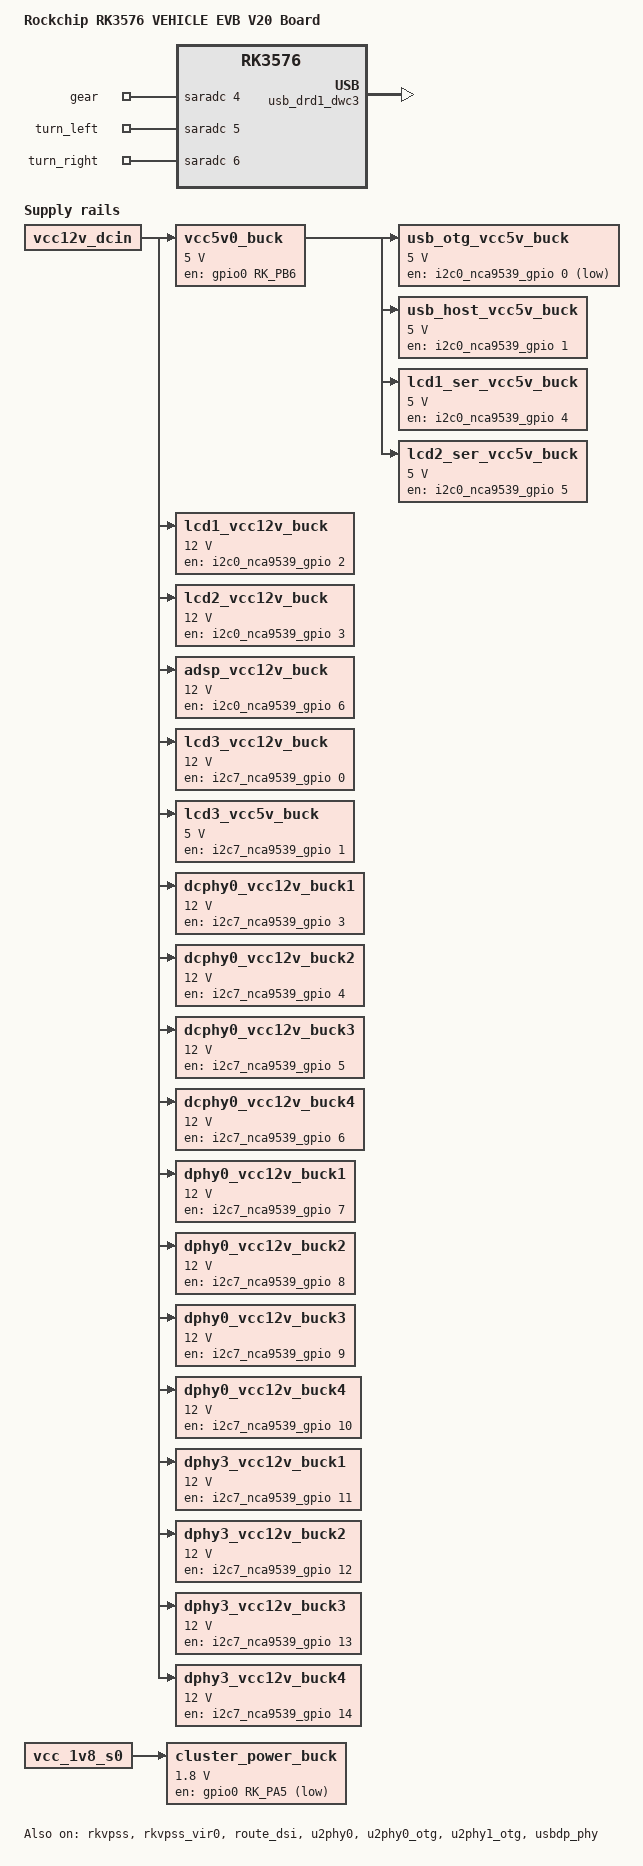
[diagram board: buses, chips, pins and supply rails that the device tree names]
// SPDX-License-Identifier: (GPL-2.0+ OR MIT)
/*
 * Copyright (c) 2024 Rockchip Electronics Co., Ltd.
 *
 */

/dts-v1/;

#include "rk3576.dtsi"
#include "rk3576-vehicle-evb-v20.dtsi"
#include "rk3576-vehicle-evb-v20-nca9539-io-expander.dtsi"
#include "rk3576-vehicle-evb-v20-serdes-mfd-display-maxim.dtsi"
#include "rk3576-vehicle-evb-v20-maxim-max96712-dphy0-isx021.dtsi"
#include "rk3576-vehicle-evb-v20-maxim-max96712-dphy3-sc233at.dtsi"
#include "rk3576-android.dtsi"

/ {
	model = "Rockchip RK3576 VEHICLE EVB V20 Board";
	compatible = "rockchip,rk3576-vehicle-evb-v20", "rockchip,rk3576";

	chosen: chosen {
		bootargs = "earlycon=uart8250,mmio32,0x2ad40000 console=ttyFIQ0 rcupdate.rcu_expedited=1 rcu_nocbs=all spidev.bufsiz=131072";
	};

	vehicle_dummy: vehicle-dummy {
		status = "okay";
		compatible = "rockchip,vehicle-dummy-adc";
		io-channels = <&saradc 4>, <&saradc 5>, <&saradc 6>;
		io-channel-names = "gear", "turn_left", "turn_right";
	};

	vcc5v0_buck: vcc5v0-buck {
		compatible = "regulator-fixed";
		regulator-name = "vcc5v0_buck";
		regulator-boot-on;
		regulator-always-on;
		regulator-min-microvolt = <5000000>;
		regulator-max-microvolt = <5000000>;
		enable-active-high;
		gpio = <&gpio0 RK_PB6 GPIO_ACTIVE_HIGH>;
		vin-supply = <&vcc12v_dcin>;
		pinctrl-names = "default";
		pinctrl-0 = <&vcc5v0_buck_en>;
		startup-delay-us = <2500>;
		off-on-delay-us = <1500>;
		regulator-state-mem {
			regulator-on-in-suspend;
			regulator-suspend-microvolt = <5000000>;
		};
	};

	cluster_power_buck: cluster_power-buck {
		compatible = "regulator-fixed";
		regulator-name = "cluster_power_buck";
		regulator-boot-on;
		regulator-always-on;
		regulator-min-microvolt = <1800000>;
		regulator-max-microvolt = <1800000>;
		//enable-active-high;
		gpio = <&gpio0 RK_PA5 GPIO_ACTIVE_LOW>;
		vin-supply = <&vcc_1v8_s0>;
		pinctrl-names = "default";
		pinctrl-0 = <&cluster_buck_en>;
		regulator-state-mem {
			regulator-off-in-suspend;
			regulator-suspend-microvolt = <1800000>;
		};
	};

	usb_otg_vcc5v_buck: usb_otg_vcc5v-buck {
		compatible = "regulator-fixed";
		regulator-name = "usb_otg_vcc5v_buck";
		regulator-boot-on;
		regulator-always-on;
		regulator-min-microvolt = <5000000>;
		regulator-max-microvolt = <5000000>;
		//enable-active-high;
		gpio = <&i2c0_nca9539_gpio 0 GPIO_ACTIVE_HIGH>;
		vin-supply = <&vcc5v0_buck>;
		regulator-state-mem {
			regulator-off-in-suspend;
			regulator-suspend-microvolt = <5000000>;
		};
	};

	usb_host_vcc5v_buck: usb_host_vcc5v-buck {
		compatible = "regulator-fixed";
		regulator-name = "usb_host_vcc5v_buck";
		//regulator-boot-on;
		//regulator-always-on;
		regulator-min-microvolt = <5000000>;
		regulator-max-microvolt = <5000000>;
		enable-active-high;
		gpio = <&i2c0_nca9539_gpio 1 GPIO_ACTIVE_HIGH>;
		vin-supply = <&vcc5v0_buck>;
		regulator-state-mem {
			regulator-off-in-suspend;
			regulator-suspend-microvolt = <5000000>;
		};
	};

	lcd1_vcc12v_buck: lcd1_vcc12v-buck {
		compatible = "regulator-fixed";
		regulator-name = "lcd1_vcc12v_buck";
		regulator-boot-on;
		regulator-always-on;
		regulator-min-microvolt = <12000000>;
		regulator-max-microvolt = <12000000>;
		enable-active-high;
		gpio = <&i2c0_nca9539_gpio 2 GPIO_ACTIVE_HIGH>;
		vin-supply = <&vcc12v_dcin>;
		regulator-state-mem {
			regulator-off-in-suspend;
			regulator-suspend-microvolt = <12000000>;
		};
	};

	lcd2_vcc12v_buck: lcd2_vcc12v-buck {
		compatible = "regulator-fixed";
		regulator-name = "lcd2_vcc12v_buck";
		regulator-boot-on;
		regulator-always-on;
		regulator-min-microvolt = <12000000>;
		regulator-max-microvolt = <12000000>;
		enable-active-high;
		gpio = <&i2c0_nca9539_gpio 3 GPIO_ACTIVE_HIGH>;
		vin-supply = <&vcc12v_dcin>;
		regulator-state-mem {
			regulator-off-in-suspend;
			regulator-suspend-microvolt = <12000000>;
		};
	};

	lcd1_ser_vcc5v_buck: lcd1_ser_vcc5v-buck {
		compatible = "regulator-fixed";
		regulator-name = "lcd1_ser_vcc5v_buck";
		regulator-boot-on;
		regulator-always-on;
		regulator-min-microvolt = <5000000>;
		regulator-max-microvolt = <5000000>;
		enable-active-high;
		gpio = <&i2c0_nca9539_gpio 4 GPIO_ACTIVE_HIGH>;
		vin-supply = <&vcc5v0_buck>;
		regulator-state-mem {
			regulator-off-in-suspend;
			regulator-suspend-microvolt = <5000000>;
		};
	};

	lcd2_ser_vcc5v_buck: lcd2_ser_vcc5v-buck {
		compatible = "regulator-fixed";
		regulator-name = "lcd2_ser_vcc5v_buck";
		regulator-boot-on;
		regulator-always-on;
		regulator-min-microvolt = <5000000>;
		regulator-max-microvolt = <5000000>;
		enable-active-high;
		gpio = <&i2c0_nca9539_gpio 5 GPIO_ACTIVE_HIGH>;
		vin-supply = <&vcc5v0_buck>;
		regulator-state-mem {
			regulator-off-in-suspend;
			regulator-suspend-microvolt = <5000000>;
		};
	};

	adsp_vcc12v_buck: adsp_vcc12v-buck {
		compatible = "regulator-fixed";
		regulator-name = "adsp_vcc12v_buck";
		regulator-boot-on;
		regulator-always-on;
		regulator-min-microvolt = <12000000>;
		regulator-max-microvolt = <12000000>;
		enable-active-high;
		gpio = <&i2c0_nca9539_gpio 6 GPIO_ACTIVE_HIGH>;
		vin-supply = <&vcc12v_dcin>;
		regulator-state-mem {
			regulator-off-in-suspend;
			regulator-suspend-microvolt = <12000000>;
		};
	};

	lcd3_vcc12v_buck: lcd3_vcc12v-buck {
		compatible = "regulator-fixed";
		regulator-name = "lcd3_vcc12v_buck";
		regulator-boot-on;
		regulator-always-on;
		regulator-min-microvolt = <12000000>;
		regulator-max-microvolt = <12000000>;
		enable-active-high;
		gpio = <&i2c7_nca9539_gpio 0 GPIO_ACTIVE_HIGH>;
		vin-supply = <&vcc12v_dcin>;
		regulator-state-mem {
			regulator-off-in-suspend;
			regulator-suspend-microvolt = <12000000>;
		};
	};

	lcd3_vcc5v_buck: lcd3_vcc5v-buck {
		compatible = "regulator-fixed";
		regulator-name = "lcd3_vcc5v_buck";
		regulator-boot-on;
		regulator-always-on;
		regulator-min-microvolt = <5000000>;
		regulator-max-microvolt = <5000000>;
		enable-active-high;
		gpio = <&i2c7_nca9539_gpio 1 GPIO_ACTIVE_HIGH>;
		vin-supply = <&vcc12v_dcin>;
		regulator-state-mem {
			regulator-off-in-suspend;
			regulator-suspend-microvolt = <12000000>;
		};
	};

	dcphy0_vcc12v_buck1: dcphy0_vcc12v-buck1 {
		compatible = "regulator-fixed";
		regulator-name = "dcphy0_vcc12v_buck1";
		regulator-boot-on;
		regulator-min-microvolt = <12000000>;
		regulator-max-microvolt = <12000000>;
		enable-active-high;
		gpio = <&i2c7_nca9539_gpio 3 GPIO_ACTIVE_HIGH>;
		startup-delay-us = <2000>;
		off-on-delay-us = <16000>;
		vin-supply = <&vcc12v_dcin>;
		regulator-state-mem {
			regulator-off-in-suspend;
			regulator-suspend-microvolt = <12000000>;
		};
	};

	dcphy0_vcc12v_buck2: dcphy0_vcc12v-buck2 {
		compatible = "regulator-fixed";
		regulator-name = "dcphy0_vcc12v_buck2";
		regulator-boot-on;
		regulator-min-microvolt = <12000000>;
		regulator-max-microvolt = <12000000>;
		enable-active-high;
		gpio = <&i2c7_nca9539_gpio 4 GPIO_ACTIVE_HIGH>;
		startup-delay-us = <2000>;
		off-on-delay-us = <16000>;
		vin-supply = <&vcc12v_dcin>;
		regulator-state-mem {
			regulator-off-in-suspend;
			regulator-suspend-microvolt = <12000000>;
		};
	};

	dcphy0_vcc12v_buck3: dcphy0_vcc12v-buck3 {
		compatible = "regulator-fixed";
		regulator-name = "dcphy0_vcc12v_buck3";
		regulator-boot-on;
		regulator-min-microvolt = <12000000>;
		regulator-max-microvolt = <12000000>;
		enable-active-high;
		gpio = <&i2c7_nca9539_gpio 5 GPIO_ACTIVE_HIGH>;
		startup-delay-us = <2000>;
		off-on-delay-us = <16000>;
		vin-supply = <&vcc12v_dcin>;
		regulator-state-mem {
			regulator-off-in-suspend;
			regulator-suspend-microvolt = <12000000>;
		};
	};

	dcphy0_vcc12v_buck4: dcphy0_vcc12v-buck4 {
		compatible = "regulator-fixed";
		regulator-name = "dcphy0_vcc12v_buck4";
		regulator-boot-on;
		regulator-min-microvolt = <12000000>;
		regulator-max-microvolt = <12000000>;
		enable-active-high;
		gpio = <&i2c7_nca9539_gpio 6 GPIO_ACTIVE_HIGH>;
		startup-delay-us = <2000>;
		off-on-delay-us = <16000>;
		vin-supply = <&vcc12v_dcin>;
		regulator-state-mem {
			regulator-off-in-suspend;
			regulator-suspend-microvolt = <12000000>;
		};
	};

	dphy0_vcc12v_buck1: dphy0_vcc12v-buck1 {
		compatible = "regulator-fixed";
		regulator-name = "dphy0_vcc12v_buck1";
		regulator-boot-on;
		regulator-min-microvolt = <12000000>;
		regulator-max-microvolt = <12000000>;
		enable-active-high;
		gpio = <&i2c7_nca9539_gpio 7 GPIO_ACTIVE_HIGH>;
		startup-delay-us = <2000>;
		off-on-delay-us = <16000>;
		vin-supply = <&vcc12v_dcin>;
		regulator-state-mem {
			regulator-off-in-suspend;
			regulator-suspend-microvolt = <12000000>;
		};
	};

	dphy0_vcc12v_buck2: dphy0_vcc12v-buck2 {
		compatible = "regulator-fixed";
		regulator-name = "dphy0_vcc12v_buck2";
		regulator-boot-on;
		regulator-min-microvolt = <12000000>;
		regulator-max-microvolt = <12000000>;
		enable-active-high;
		gpio = <&i2c7_nca9539_gpio 8 GPIO_ACTIVE_HIGH>;
		startup-delay-us = <2000>;
		off-on-delay-us = <16000>;
		vin-supply = <&vcc12v_dcin>;
		regulator-state-mem {
			regulator-off-in-suspend;
			regulator-suspend-microvolt = <12000000>;
		};
	};

	dphy0_vcc12v_buck3: dphy0_vcc12v-buck3 {
		compatible = "regulator-fixed";
		regulator-name = "dphy0_vcc12v_buck3";
		regulator-boot-on;
		regulator-min-microvolt = <12000000>;
		regulator-max-microvolt = <12000000>;
		enable-active-high;
		gpio = <&i2c7_nca9539_gpio 9 GPIO_ACTIVE_HIGH>;
		startup-delay-us = <2000>;
		off-on-delay-us = <16000>;
		vin-supply = <&vcc12v_dcin>;
		regulator-state-mem {
			regulator-off-in-suspend;
			regulator-suspend-microvolt = <12000000>;
		};
	};

	dphy0_vcc12v_buck4: dphy0_vcc12v-buck4 {
		compatible = "regulator-fixed";
		regulator-name = "dphy0_vcc12v_buck4";
		regulator-boot-on;
		regulator-min-microvolt = <12000000>;
		regulator-max-microvolt = <12000000>;
		enable-active-high;
		gpio = <&i2c7_nca9539_gpio 10 GPIO_ACTIVE_HIGH>;
		startup-delay-us = <2000>;
		off-on-delay-us = <16000>;
		vin-supply = <&vcc12v_dcin>;
		regulator-state-mem {
			regulator-off-in-suspend;
			regulator-suspend-microvolt = <12000000>;
		};
	};

	dphy3_vcc12v_buck1: dphy3_vcc12v-buck1 {
		compatible = "regulator-fixed";
		regulator-name = "dphy3_vcc12v_buck1";
		regulator-boot-on;
		regulator-min-microvolt = <12000000>;
		regulator-max-microvolt = <12000000>;
		enable-active-high;
		gpio = <&i2c7_nca9539_gpio 11 GPIO_ACTIVE_HIGH>;
		startup-delay-us = <2000>;
		off-on-delay-us = <16000>;
		vin-supply = <&vcc12v_dcin>;
		regulator-state-mem {
			regulator-off-in-suspend;
			regulator-suspend-microvolt = <12000000>;
		};
	};

	dphy3_vcc12v_buck2: dphy3_vcc12v-buck2 {
		compatible = "regulator-fixed";
		regulator-name = "dphy3_vcc12v_buck2";
		regulator-boot-on;
		regulator-min-microvolt = <12000000>;
		regulator-max-microvolt = <12000000>;
		enable-active-high;
		gpio = <&i2c7_nca9539_gpio 12 GPIO_ACTIVE_HIGH>;
		startup-delay-us = <2000>;
		off-on-delay-us = <16000>;
		vin-supply = <&vcc12v_dcin>;
		regulator-state-mem {
			regulator-off-in-suspend;
			regulator-suspend-microvolt = <12000000>;
		};
	};

	dphy3_vcc12v_buck3: dphy3_vcc12v-buck3 {
		compatible = "regulator-fixed";
		regulator-name = "dphy3_vcc12v_buck3";
		regulator-boot-on;
		regulator-min-microvolt = <12000000>;
		regulator-max-microvolt = <12000000>;
		enable-active-high;
		gpio = <&i2c7_nca9539_gpio 13 GPIO_ACTIVE_HIGH>;
		startup-delay-us = <2000>;
		off-on-delay-us = <16000>;
		vin-supply = <&vcc12v_dcin>;
		regulator-state-mem {
			regulator-off-in-suspend;
			regulator-suspend-microvolt = <12000000>;
		};
	};

	dphy3_vcc12v_buck4: dphy3_vcc12v-buck4 {
		compatible = "regulator-fixed";
		regulator-name = "dphy3_vcc12v_buck4";
		regulator-boot-on;
		regulator-min-microvolt = <12000000>;
		regulator-max-microvolt = <12000000>;
		enable-active-high;
		gpio = <&i2c7_nca9539_gpio 14 GPIO_ACTIVE_HIGH>;
		startup-delay-us = <2000>;
		off-on-delay-us = <16000>;
		vin-supply = <&vcc12v_dcin>;
		regulator-state-mem {
			regulator-off-in-suspend;
			regulator-suspend-microvolt = <12000000>;
		};
	};
};

&dfi {
	status = "disabled";
};

&dmc {
	status = "disabled";
};

&gmac1 {
	status = "disabled";
};

&hym8563 {
	status = "disabled";
};

/*edp*/
&i2c3_max96752 {
	use-reg-check-work;
	vpower-supply = <&lcd1_vcc12v_buck>;
};

/*edp touch*/
&i2c3_himax {
	himax,irq-gpio = <&gpio3 RK_PD6 IRQ_TYPE_EDGE_FALLING>;
};

/*dp*/
&i2c5_max96745 {
	lock-gpios = <&gpio0 RK_PC5 GPIO_ACTIVE_HIGH>;
};

&i2c5_ilitek {
	interrupt-parent = <&gpio4>;
	interrupts = <RK_PA0 IRQ_TYPE_LEVEL_LOW>;
};

/*dp*/
&i2c5_max96752 {
	use-reg-check-work;
	vpower-supply = <&lcd2_vcc12v_buck>;
};

&i2c8_max96789 {
	route-enable;
};

/*dsi*/
&i2c8_max96752 {
	use-reg-check-work;
	vpower-supply = <&lcd3_vcc12v_buck>;
};

&dp2lvds_backlight0 {
	pwms = <&pwm2_8ch_7 0 25000 0>;
};

&edp2lvds_backlight0 {
	pwms = <&pwm0_2ch_0 0 25000 0>;
};

/* edp->serdes->lvds_panel */
&pwm0_2ch_0 {
	pinctrl-0 = <&pwm0m3_ch0>;
};

/* dp->serdes->lvds_panel */
&pwm2_8ch_7 {
	pinctrl-0 = <&pwm2m3_ch7>;
};

&pinctrl {
	touch {
		//dsi-i2c8
		touch_gpio_dsi: touch-gpio-dsi {
			rockchip,pins =
				<3 RK_PA3 RK_FUNC_GPIO &pcfg_pull_up>;
		};
		//dp-i2c5
		touch_gpio_dp: touch-gpio-dp {
			rockchip,pins = <4 RK_PA0 RK_FUNC_GPIO &pcfg_pull_up>;
		};
		//edp0-i2c3
		touch_gpio_edp: touch-gpio-edp {
			rockchip,pins =
				<3 RK_PD6 RK_FUNC_GPIO &pcfg_pull_up>;
		};
	};

	vcc5v0-buck {
		vcc5v0_buck_en: vcc5v0-buck-en {
			rockchip,pins = <0 RK_PB6 RK_FUNC_GPIO &pcfg_pull_none>;
		};
	};

	cluster-buck {
		cluster_buck_en: cluster-buck-en {
			rockchip,pins = <0 RK_PA5 RK_FUNC_GPIO &pcfg_pull_down>;
		};
	};
};

&rkvpss {
	status = "okay";
};

&rkvpss_mmu {
	status = "okay";
};

&rkvpss_vir0 {
	status = "okay";
};

&route_dsi {
	status = "okay";
};

&sdmmc {
	status = "disabled";
};

&ufs {
	status = "disabled";
};

&u2phy0 {
	status = "okay";
};

&u2phy0_otg {
	//vbus-supply = <&usb_otg_vcc5v_buck>;
	status = "okay";
};

&u2phy1_otg {
	phy-supply = <&usb_host_vcc5v_buck>;
	status = "okay";
};

&usbdp_phy {
	maximum-speed = "high-speed";
	status = "okay";
};

&usbdp_phy_u3 {
	status = "disabled";
};

&usb_drd1_dwc3 {
	snps,dis_u2_susphy_quirk;
	snps,usb2-lpm-disable;
	status = "okay";
};
